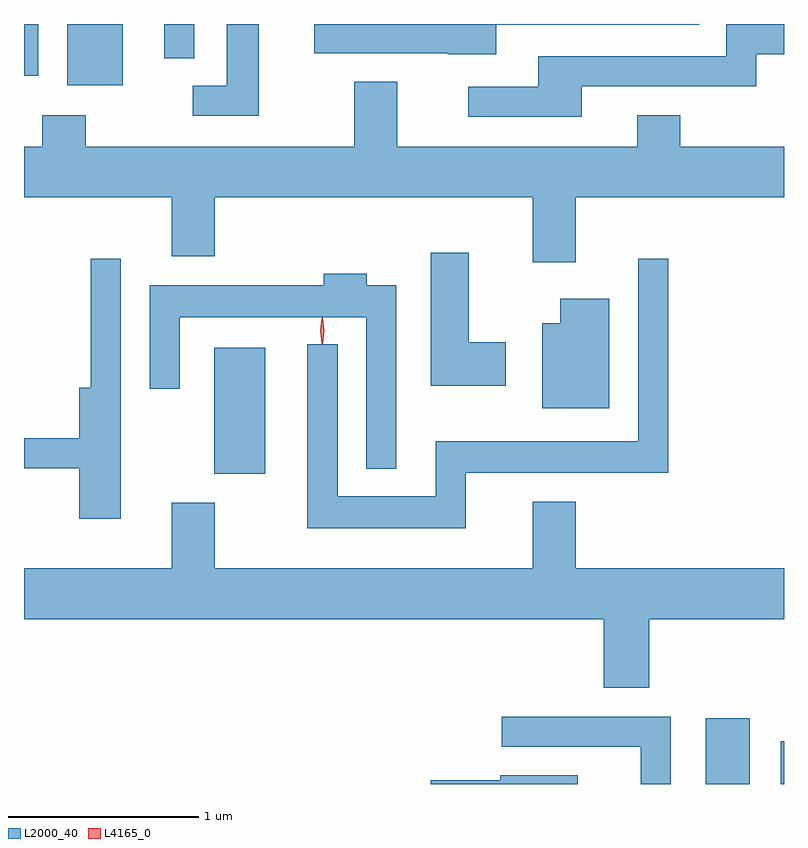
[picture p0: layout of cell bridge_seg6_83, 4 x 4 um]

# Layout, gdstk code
import gdstk
lib = gdstk.Library(unit=1e-6, precision=1e-09)
def R(c, l, rs):  # rectangles x0, y0, x1, y1
    for r in rs: c.add(gdstk.rectangle(r[:2], r[2:], *l))
def P(c, l, *ps):  # polygons
    for p in ps: c.add(gdstk.Polygon(p, *l))
L2000_40 = (2000, 40)
L4165_0 = (4165, 0)

bridge_seg6_83 = lib.new_cell('bridge_seg6_83')
R(bridge_seg6_83, L2000_40, [(1290.851,1651.289,1291.084,1651.634), (1291.246,1651.289,1291.264,1651.514), (1288.266,1652.921,1288.534,1653.584), (1287.491,1654.966,1287.784,1655.289), (1287.264,1655.016,1287.339,1655.289), (1288.001,1655.108,1288.159,1655.289)])
P(bridge_seg6_83, L2000_40, [(1288.499,1655.289),(1288.331,1655.289),(1288.331,1654.964),(1288.153,1654.964),(1288.153,1654.806),(1288.499,1654.806)],
  [(1289.749,1655.286),(1290.818,1655.286),(1290.818,1655.289),(1288.791,1655.289),(1288.791,1655.136),(1289.495,1655.136),(1289.495,1655.131),(1289.749,1655.131)],
  [(1290.199,1654.961),(1291.119,1654.961),(1291.119,1655.131),(1291.264,1655.131),(1291.264,1655.289),(1290.961,1655.289),(1290.961,1655.119),(1289.971,1655.119),(1289.971,1654.959),(1289.603,1654.959),(1289.603,1654.801),(1290.199,1654.801)],
  [(1290.169,1654.376),(1291.264,1654.376),(1291.264,1654.644),(1290.719,1654.644),(1290.719,1654.809),(1290.491,1654.809),(1290.491,1654.644),(1289.229,1654.644),(1289.229,1654.984),(1289.001,1654.984),(1289.001,1654.644),(1287.589,1654.644),(1287.589,1654.809),(1287.361,1654.809),(1287.361,1654.644),(1287.264,1654.644),(1287.264,1654.376),(1288.041,1654.376),(1288.041,1654.066),(1288.269,1654.066),(1288.269,1654.376),(1289.941,1654.376),(1289.941,1654.036),(1290.169,1654.036)],
  [(1289.799,1653.614),(1289.604,1653.614),(1289.604,1654.084),(1289.406,1654.084),(1289.406,1653.386),(1289.799,1653.386)],
  [(1289.589,1652.926),(1290.654,1652.926),(1290.654,1654.053),(1290.496,1654.053),(1290.496,1653.094),(1289.431,1653.094),(1289.431,1652.804),(1288.914,1652.804),(1288.914,1653.603),(1288.756,1653.603),(1288.756,1652.636),(1289.589,1652.636)],
  [(1287.774,1654.053),(1287.616,1654.053),(1287.616,1653.374),(1287.556,1653.374),(1287.556,1653.109),(1287.264,1653.109),(1287.264,1652.951),(1287.556,1652.951),(1287.556,1652.686),(1287.774,1652.686)],
  [(1289.224,1653.914),(1289.069,1653.914),(1289.069,1653.974),(1288.841,1653.974),(1288.841,1653.914),(1287.926,1653.914),(1287.926,1653.368),(1288.084,1653.368),(1288.084,1653.746),(1289.066,1653.746),(1289.066,1652.948),(1289.224,1652.948)],
  [(1290.344,1653.844),(1290.086,1653.844),(1290.086,1653.714),(1289.991,1653.714),(1289.991,1653.266),(1290.344,1653.266)],
  [(1290.554,1652.156),(1291.264,1652.156),(1291.264,1652.424),(1290.169,1652.424),(1290.169,1652.774),(1289.941,1652.774),(1289.941,1652.424),(1288.269,1652.424),(1288.269,1652.769),(1288.041,1652.769),(1288.041,1652.424),(1287.264,1652.424),(1287.264,1652.156),(1290.316,1652.156),(1290.316,1651.796),(1290.554,1651.796)],
  [(1290.669,1651.644),(1289.778,1651.644),(1289.778,1651.486),(1290.511,1651.486),(1290.511,1651.289),(1290.669,1651.289)],
  [(1290.179,1651.334),(1289.771,1651.334),(1289.771,1651.309),(1289.406,1651.309),(1289.406,1651.289),(1290.179,1651.289)])
P(bridge_seg6_83, L4165_0, [(1288.831,1653.607),(1288.822,1653.674),(1288.831,1653.74),(1288.832,1653.74),(1288.832,1653.74),(1288.842,1653.674),(1288.832,1653.607),(1288.832,1653.607)],
  [(1288.834,1653.604),(1288.825,1653.674),(1288.834,1653.742),(1288.835,1653.743),(1288.836,1653.742),(1288.845,1653.674),(1288.836,1653.604),(1288.835,1653.604)])

lib.write_gds('bridge_seg6_83.gds')
